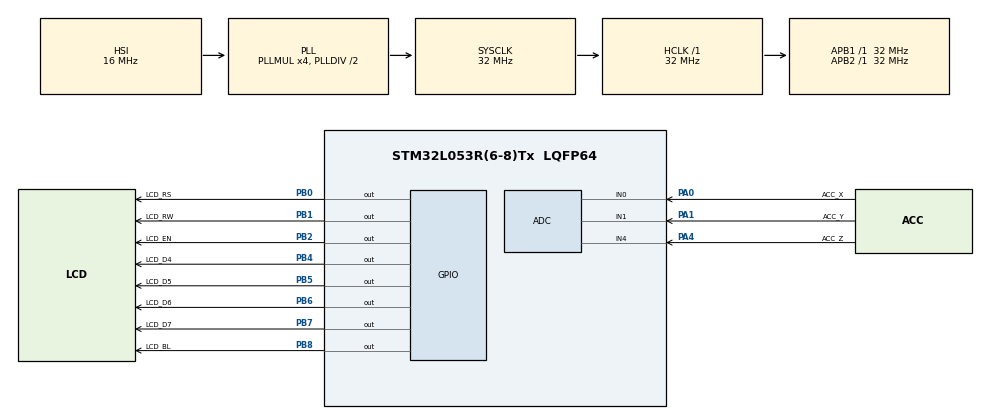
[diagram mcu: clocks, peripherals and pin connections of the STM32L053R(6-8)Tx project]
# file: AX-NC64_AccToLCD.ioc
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ADC.ContinuousConvMode=ENABLE
ADC.DMAContinuousRequests=ENABLE
ADC.SamplingTime=ADC_SAMPLETIME_160CYCLES_5
Dma.ADC.0.Direction=DMA_PERIPH_TO_MEMORY
Dma.ADC.0.Instance=DMA1_Channel1
Dma.ADC.0.MemDataAlignment=DMA_MDATAALIGN_HALFWORD
Dma.ADC.0.MemInc=DMA_MINC_ENABLE
Dma.ADC.0.Mode=DMA_CIRCULAR
Dma.ADC.0.PeriphDataAlignment=DMA_PDATAALIGN_HALFWORD
Dma.ADC.0.PeriphInc=DMA_PINC_DISABLE
Dma.ADC.0.Priority=DMA_PRIORITY_LOW
Dma.Request0=ADC
Mcu.Family=STM32L0
Mcu.Name=STM32L053R(6-8)Tx
Mcu.Package=LQFP64
NVIC.DMA1_Channel1_IRQn=true\:0\:0\:false\:false\:true\:false\:true
PA0.GPIO_Label=ACC_X
PA0.Mode=IN0
PA0.Signal=ADC_IN0
PA1.GPIO_Label=ACC_Y
PA1.Mode=IN1
PA1.Signal=ADC_IN1
PA4.GPIO_Label=ACC_Z
PA4.Mode=IN4
PA4.Signal=ADC_IN4
PB0.GPIO_Label=LCD_RS
PB0.Signal=GPIO_Output
PB1.GPIO_Label=LCD_RW
PB1.Signal=GPIO_Output
PB2.GPIO_Label=LCD_EN
PB2.Signal=GPIO_Output
PB4.GPIO_Label=LCD_D4
PB4.Signal=GPIO_Output
PB5.GPIO_Label=LCD_D5
PB5.Signal=GPIO_Output
PB6.GPIO_Label=LCD_D6
PB6.Signal=GPIO_Output
PB7.GPIO_Label=LCD_D7
PB7.Signal=GPIO_Output
PB8.GPIO_Label=LCD_BL
PB8.Signal=GPIO_Output
ProjectManager.HeapSize=0x200
ProjectManager.StackSize=0x400
ProjectManager.TargetToolchain=MDK-ARM V5
RCC.AHBFreq_Value=32000000
RCC.APB1Freq_Value=32000000
RCC.APB1TimFreq_Value=32000000
RCC.APB2Freq_Value=32000000
RCC.APB2TimFreq_Value=32000000
RCC.HCLKFreq_Value=32000000
RCC.HSE_VALUE=8000000
RCC.HSI16_VALUE=16000000
RCC.HSI48_VALUE=48000000
RCC.HSI_VALUE=16000000
RCC.LSE_VALUE=32768
RCC.MSI_VALUE=2097000
RCC.PLLMUL=RCC_PLLMUL_4
RCC.SYSCLKFreq_VALUE=32000000
RCC.SYSCLKSource=RCC_SYSCLKSOURCE_PLLCLK
RCC.VCOOutputFreq_Value=64000000
board=custom

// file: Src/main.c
/* USER CODE BEGIN Header */
/**
  ******************************************************************************
  * @file           : main.c
  * @brief          : Main program body
  ******************************************************************************
  * @attention
  *
  * <h2><center>&copy; Copyright (c) 2019 STMicroelectronics.
  * All rights reserved.</center></h2>
  *
  * This software component is licensed by ST under BSD 3-Clause license,
  * the "License"; You may not use this file except in compliance with the
  * License. You may obtain a copy of the License at:
  *                        opensource.org/licenses/BSD-3-Clause
  *
  ******************************************************************************
  */
/* USER CODE END Header */

#include "main.h"

/* USER CODE BEGIN Includes */
#include <stdio.h>
/* USER CODE END Includes */

ADC_HandleTypeDef hadc;
DMA_HandleTypeDef hdma_adc;

void SystemClock_Config(void);
static void MX_GPIO_Init(void);
static void MX_DMA_Init(void);
static void MX_ADC_Init(void);

/* USER CODE BEGIN 0 */
uint16_t accelerometer_value[3];

#define LCD_COMMAND 0
#define LCD_DATA    1

void lcd_nop() {
	HAL_Delay(1);
	HAL_GPIO_WritePin(LCD_EN_GPIO_Port, LCD_EN_Pin, 1);
	HAL_Delay(1);
	HAL_GPIO_WritePin(LCD_EN_GPIO_Port, LCD_EN_Pin, 0);
}

void lcd_data(uint8_t data) {
	HAL_GPIO_WritePin(LCD_D4_GPIO_Port, LCD_D4_Pin, (data&0x10) != 0 ? 1 : 0);
	HAL_GPIO_WritePin(LCD_D5_GPIO_Port, LCD_D5_Pin, (data&0x20) != 0 ? 1 : 0);
	HAL_GPIO_WritePin(LCD_D6_GPIO_Port, LCD_D6_Pin, (data&0x40) != 0 ? 1 : 0);
	HAL_GPIO_WritePin(LCD_D7_GPIO_Port, LCD_D7_Pin, (data&0x80) != 0 ? 1 : 0);
}

void lcd_write(uint8_t command_or_data, uint8_t data) {
	HAL_GPIO_WritePin(LCD_RS_GPIO_Port, LCD_RS_Pin, command_or_data);

	lcd_data(data&0xF0);
	lcd_nop();
	lcd_data(data<<4);
	lcd_nop();
}

void lcd_set_cursor(uint8_t line, uint8_t b) {
  lcd_write(LCD_COMMAND, (line==1 ? 0x80 : 0xC0) + b);
}

void lcd_print(char *buf) {
	int index=0;
  while(buf[index] != 0) {
    lcd_write(LCD_DATA, buf[index]);
    index++;
  }
}

void lcd_clear() {
	lcd_write(LCD_COMMAND, 0x01);
}

void lcd_init() {
	HAL_GPIO_WritePin(LCD_BL_GPIO_Port, LCD_BL_Pin, 1);

	HAL_Delay(20);

	HAL_GPIO_WritePin(LCD_RS_GPIO_Port, LCD_RS_Pin, 0);
	HAL_GPIO_WritePin(LCD_EN_GPIO_Port, LCD_EN_Pin, 0);

	lcd_data(0x30);
	lcd_nop();
	lcd_nop();
	lcd_nop();
	lcd_data(0x20);
	lcd_nop();
	lcd_nop();
	lcd_data(0x10);
	lcd_nop();
	lcd_data(0x00);
	lcd_nop();
	lcd_data(0xC0); // 0xD0 Show Cuser, 0xC0 Hide Cuser
	lcd_nop();

	lcd_write(LCD_COMMAND, 0x28);
	lcd_clear();
}
/* USER CODE END 0 */

int main(void)
{

  /* MCU Configuration--------------------------------------------------------*/

  /* Reset of all peripherals, Initializes the Flash interface and the Systick. */
  HAL_Init();

  /* Configure the system clock */
  SystemClock_Config();

  /* Initialize all configured peripherals */
  MX_GPIO_Init();
  MX_DMA_Init();
  MX_ADC_Init();
  /* USER CODE BEGIN 2 */

	// Setup ADC
	HAL_ADC_Start_DMA(&hadc, (uint32_t*)accelerometer_value, 3);

	// Setup LCD
  lcd_init();

  /* USER CODE END 2 */

  /* Infinite loop */
  /* USER CODE BEGIN WHILE */
  while (1)
  {
		char buff[20];
		static int i=0;
		sprintf(buff, "X: %d  Y: %d", accelerometer_value[0], accelerometer_value[1]);
		lcd_set_cursor(1, 0);
		lcd_print(buff);

		sprintf(buff, "Z: %d", accelerometer_value[2]);
		lcd_set_cursor(2, 0);
		lcd_print(buff);
		HAL_Delay(300);
    /* USER CODE END WHILE */

  }
}

void SystemClock_Config(void)
{
  RCC_OscInitTypeDef RCC_OscInitStruct = {0};
  RCC_ClkInitTypeDef RCC_ClkInitStruct = {0};

  /** Configure the main internal regulator output voltage
  */
  __HAL_PWR_VOLTAGESCALING_CONFIG(PWR_REGULATOR_VOLTAGE_SCALE1);
  /** Initializes the CPU, AHB and APB busses clocks
  */
  RCC_OscInitStruct.OscillatorType = RCC_OSCILLATORTYPE_HSI;
  RCC_OscInitStruct.HSIState = RCC_HSI_ON;
  RCC_OscInitStruct.HSICalibrationValue = RCC_HSICALIBRATION_DEFAULT;
  RCC_OscInitStruct.PLL.PLLState = RCC_PLL_ON;
  RCC_OscInitStruct.PLL.PLLSource = RCC_PLLSOURCE_HSI;
  RCC_OscInitStruct.PLL.PLLMUL = RCC_PLLMUL_4;
  RCC_OscInitStruct.PLL.PLLDIV = RCC_PLLDIV_2;
  if (HAL_RCC_OscConfig(&RCC_OscInitStruct) != HAL_OK)
  {
    Error_Handler();
  }
  /** Initializes the CPU, AHB and APB busses clocks
  */
  RCC_ClkInitStruct.ClockType = RCC_CLOCKTYPE_HCLK|RCC_CLOCKTYPE_SYSCLK
                              |RCC_CLOCKTYPE_PCLK1|RCC_CLOCKTYPE_PCLK2;
  RCC_ClkInitStruct.SYSCLKSource = RCC_SYSCLKSOURCE_PLLCLK;
  RCC_ClkInitStruct.AHBCLKDivider = RCC_SYSCLK_DIV1;
  RCC_ClkInitStruct.APB1CLKDivider = RCC_HCLK_DIV1;
  RCC_ClkInitStruct.APB2CLKDivider = RCC_HCLK_DIV1;

  if (HAL_RCC_ClockConfig(&RCC_ClkInitStruct, FLASH_LATENCY_1) != HAL_OK)
  {
    Error_Handler();
  }
}

static void MX_ADC_Init(void)
{

  ADC_ChannelConfTypeDef sConfig = {0};

  /** Configure the global features of the ADC (Clock, Resolution, Data Alignment and number of conversion)
  */
  hadc.Instance = ADC1;
  hadc.Init.OversamplingMode = DISABLE;
  hadc.Init.ClockPrescaler = ADC_CLOCK_SYNC_PCLK_DIV2;
  hadc.Init.Resolution = ADC_RESOLUTION_12B;
  hadc.Init.SamplingTime = ADC_SAMPLETIME_160CYCLES_5;
  hadc.Init.ScanConvMode = ADC_SCAN_DIRECTION_FORWARD;
  hadc.Init.DataAlign = ADC_DATAALIGN_RIGHT;
  hadc.Init.ContinuousConvMode = ENABLE;
  hadc.Init.DiscontinuousConvMode = DISABLE;
  hadc.Init.ExternalTrigConvEdge = ADC_EXTERNALTRIGCONVEDGE_NONE;
  hadc.Init.ExternalTrigConv = ADC_SOFTWARE_START;
  hadc.Init.DMAContinuousRequests = ENABLE;
  hadc.Init.EOCSelection = ADC_EOC_SINGLE_CONV;
  hadc.Init.Overrun = ADC_OVR_DATA_PRESERVED;
  hadc.Init.LowPowerAutoWait = DISABLE;
  hadc.Init.LowPowerFrequencyMode = DISABLE;
  hadc.Init.LowPowerAutoPowerOff = DISABLE;
  if (HAL_ADC_Init(&hadc) != HAL_OK)
  {
    Error_Handler();
  }
  /** Configure for the selected ADC regular channel to be converted.
  */
  sConfig.Channel = ADC_CHANNEL_0;
  sConfig.Rank = ADC_RANK_CHANNEL_NUMBER;
  if (HAL_ADC_ConfigChannel(&hadc, &sConfig) != HAL_OK)
  {
    Error_Handler();
  }
  /** Configure for the selected ADC regular channel to be converted.
  */
  sConfig.Channel = ADC_CHANNEL_1;
  if (HAL_ADC_ConfigChannel(&hadc, &sConfig) != HAL_OK)
  {
    Error_Handler();
  }
  /** Configure for the selected ADC regular channel to be converted.
  */
  sConfig.Channel = ADC_CHANNEL_4;
  if (HAL_ADC_ConfigChannel(&hadc, &sConfig) != HAL_OK)
  {
    Error_Handler();
  }

}

static void MX_DMA_Init(void)
{
  /* DMA controller clock enable */
  __HAL_RCC_DMA1_CLK_ENABLE();

  /* DMA interrupt init */
  /* DMA1_Channel1_IRQn interrupt configuration */
  HAL_NVIC_SetPriority(DMA1_Channel1_IRQn, 0, 0);
  HAL_NVIC_EnableIRQ(DMA1_Channel1_IRQn);

}

static void MX_GPIO_Init(void)
{
  GPIO_InitTypeDef GPIO_InitStruct = {0};

  /* GPIO Ports Clock Enable */
  __HAL_RCC_GPIOA_CLK_ENABLE();
  __HAL_RCC_GPIOB_CLK_ENABLE();

  /*Configure GPIO pin Output Level */
  HAL_GPIO_WritePin(GPIOB, LCD_RS_Pin|LCD_RW_Pin|LCD_EN_Pin|LCD_D4_Pin
                          |LCD_D5_Pin|LCD_D6_Pin|LCD_D7_Pin|LCD_BL_Pin, GPIO_PIN_RESET);

  /*Configure GPIO pins : LCD_RS_Pin LCD_RW_Pin LCD_EN_Pin LCD_D4_Pin
                           LCD_D5_Pin LCD_D6_Pin LCD_D7_Pin LCD_BL_Pin */
  GPIO_InitStruct.Pin = LCD_RS_Pin|LCD_RW_Pin|LCD_EN_Pin|LCD_D4_Pin
                          |LCD_D5_Pin|LCD_D6_Pin|LCD_D7_Pin|LCD_BL_Pin;
  GPIO_InitStruct.Mode = GPIO_MODE_OUTPUT_PP;
  GPIO_InitStruct.Pull = GPIO_NOPULL;
  GPIO_InitStruct.Speed = GPIO_SPEED_FREQ_LOW;
  HAL_GPIO_Init(GPIOB, &GPIO_InitStruct);

}

void Error_Handler(void)
{
}

/************************ (C) COPYRIGHT STMicroelectronics *****END OF FILE****/
